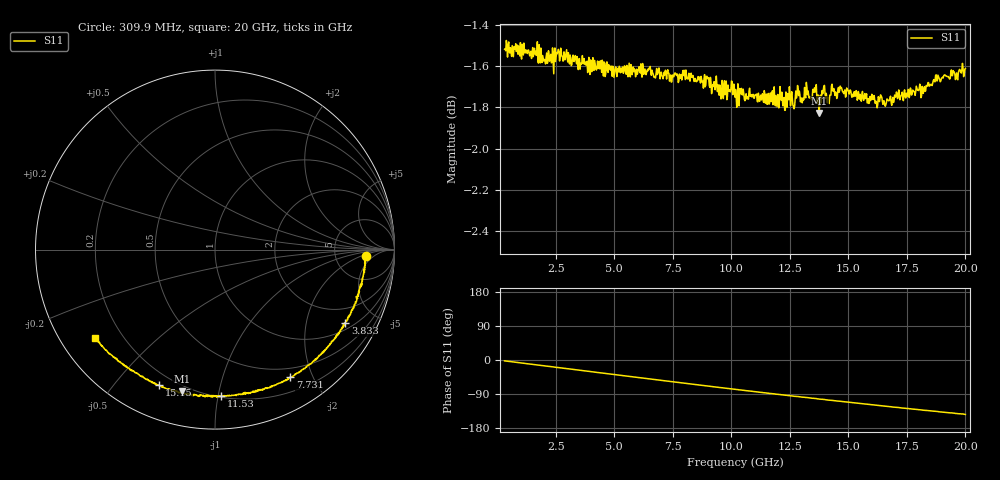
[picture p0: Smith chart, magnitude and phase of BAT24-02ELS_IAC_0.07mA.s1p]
! Infineon Technologies  Discrete & RF Semiconductors
! BAT24-02ELS
! IAC = 0.07 mA
! One-Port S-Parameters
# Hz  S  MA  R  50
!f  S11
!Hz  Mag  Ang
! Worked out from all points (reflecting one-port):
!   789 points, 309.9 MHz to 20 GHz, reference 50 ohm
!   lowest |S11| = -1.8 dB at 13.75 GHz (marker M1), VSWR 9.54, Z = 8.47 - j38.9 ohm
!   phase of S11 starts at -2 deg and turns -141 deg over the sweep
!   S11 on the Smith chart (normalised r, x): 309.9 MHz: 11, -2; 3.833 GHz: 1.26, -3.38; 7.731 GHz: 0.38, -1.69; 11.53 GHz: 0.21, -1.02; 15.15 GHz: 0.14, -0.66; 20 GHz: 0.10, -0.33
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3.0985e8  0.8398 -2.3
7.846125e8  0.8423 -5.9
1.634188e9  0.8388 -12.6
2.783612e9  0.836 -21.4
3.833088e9  0.8341 -29.4
4.432788e9  0.8344 -34.0
5.232388e9  0.8302 -40.2
6.456775e9  0.8308 -49.5
7.70615e9  0.8274 -59.0
7.731138e9  0.8242 -59.3
8.930538e9  0.827 -68.2
1.015492e10  0.8175 -77.4
1.082959e10  0.818 -82.3
1.152924e10  0.8142 -87.5
1.262869e10  0.8139 -95.2
1.282859e10  0.8228 -96.3
1.355322e10  0.8218 -101.4
1.375312e10  0.8103 -103.2
1.392804e10  0.8208 -104.0
1.410295e10  0.8149 -105.5
1.432784e10  0.8206 -106.7
1.507746e10  0.8208 -111.8
1.515242e10  0.8174 -112.5
1.572714e10  0.8168 -116.4
1.710145e10  0.8168 -125.3
1.755122e10  0.821 -128.0
1.892554e10  0.8246 -136.9
2e10  0.8306 -143.5
